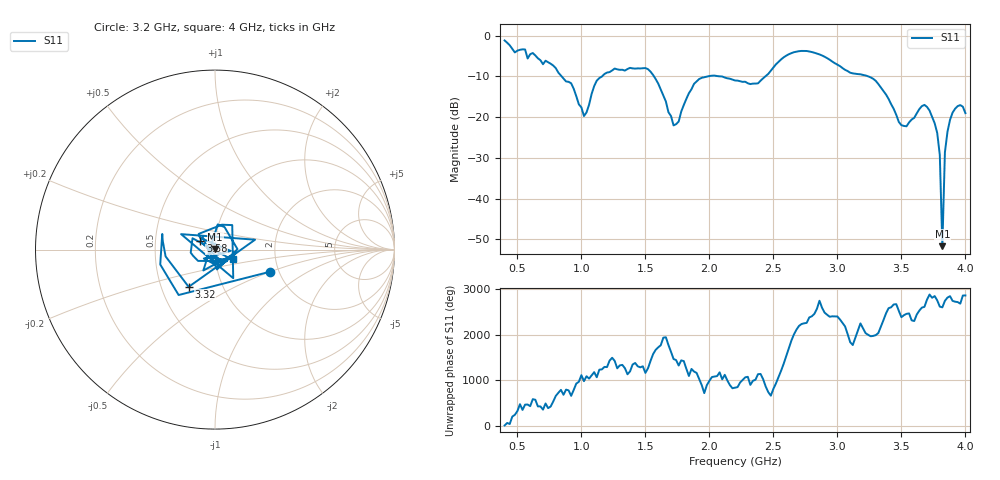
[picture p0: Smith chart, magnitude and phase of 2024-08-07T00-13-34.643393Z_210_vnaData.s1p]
!Created with skrf (http://scikit-rf.org).
# Hz S RI R 50.0
!freq ReS11 ImS11
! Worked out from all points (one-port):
!   181 points, 400 MHz to 4 GHz, reference 50 ohm
!   lowest |S11| = -51.7 dB at 3.82 GHz (marker M1), VSWR 1.01, Z = 50.1 + j0.25 ohm
!   |S11| at or under -10 dB: 1.567 GHz to 1.988 GHz (420.7 MHz wide, 23.7 % of centre); 2.079 GHz to 2.438 GHz (359 MHz wide, 15.9 % of centre); 3.24 GHz to end of sweep (the widest 3 of 4)
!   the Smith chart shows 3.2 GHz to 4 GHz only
!   S11 on the Smith chart (normalised r, x): 3.2 GHz: 1.79, -0.50; 3.32 GHz: 0.69, -0.31; 3.58 GHz: 0.85, +0.08; 4 GHz: 1.21, -0.13
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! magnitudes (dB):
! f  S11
! 400 MHz  -1.2
! 860 MHz  -10.6
! 920 MHz  -11.7
! 1.02 GHz  -19.7
! 1.12 GHz  -11.1
! 1.3 GHz  -8.4
! 1.52 GHz  -8.2
! 1.6 GHz  -11.8
! 1.72 GHz  -22.0
! 1.76 GHz  -21.1
! 1.92 GHz  -10.7
! 2.2 GHz  -11.0
! 2.38 GHz  -11.7
! 2.66 GHz  -4.1
! 3.1 GHz  -9.1
! 3.2 GHz  -9.7
! 3.32 GHz  -11.9
! 3.48 GHz  -21.2
! 3.56 GHz  -21.3
! 3.58 GHz  -20.6
! 3.68 GHz  -17.0
! 3.78 GHz  -23.9
! 3.8 GHz  -29.3
! 3.82 GHz  -51.7
! 3.84 GHz  -28.6
! 3.86 GHz  -23.6
! 3.92 GHz  -17.9
! 4 GHz  -19.0
